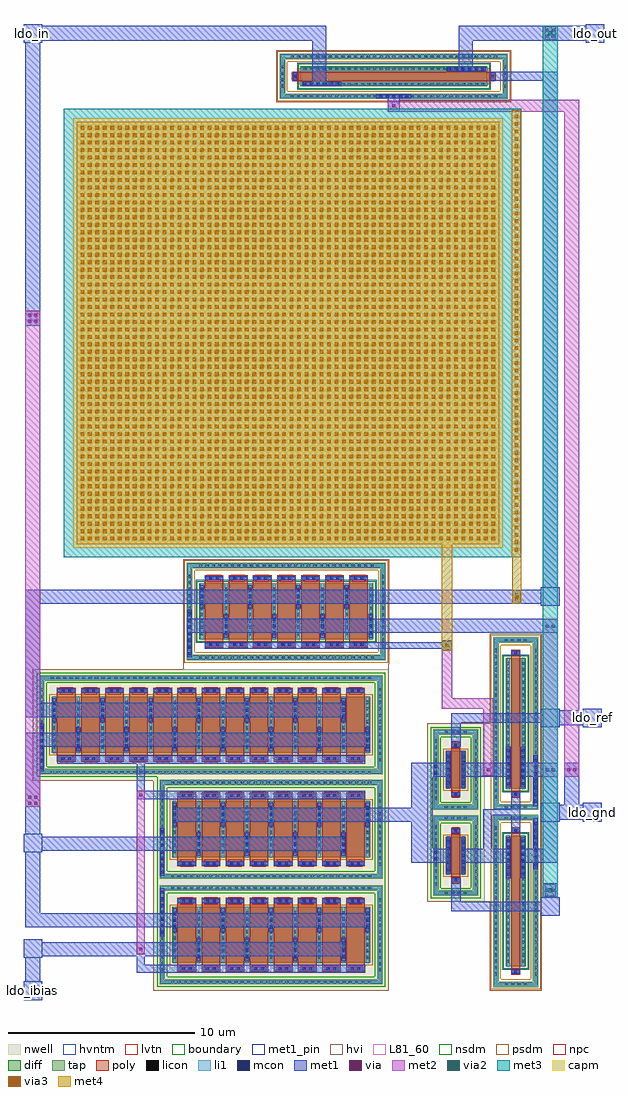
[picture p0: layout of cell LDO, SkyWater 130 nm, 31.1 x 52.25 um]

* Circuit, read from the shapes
.subckt LDO ldo_gnd ldo_ibias ldo_in ldo_out ldo_ref
XM1 ldo_gnd n1 Ota_esq_0/Vout ldo_gnd sky130_fd_pr__nfet_05v0_nvt w=3 l=1 m=7
XM2 ldo_out Ota_esq_0/Vout ldo_in ldo_gnd sky130_fd_pr__nfet_05v0_nvt w=10 l=0.5
XM3 ldo_gnd n2 n2 ldo_gnd sky130_fd_pr__nfet_05v0_nvt w=7 l=0.5
XM4 ldo_gnd n2 n1 ldo_gnd sky130_fd_pr__nfet_05v0_nvt w=7 l=0.5
XM5 ldo_in ldo_ibias Ota_esq_0/Vout ldo_in sky130_fd_pr__pfet_g5v0d10v5 w=3 l=1 m=13
XM6 ldo_ibias ldo_ibias ldo_in ldo_in sky130_fd_pr__pfet_g5v0d10v5 w=3 l=1 m=8
XM7 ldo_in ldo_ibias n3 ldo_in sky130_fd_pr__pfet_g5v0d10v5 w=3 l=1 m=8
XM8 n2 ldo_out n3 n3 sky130_fd_pr__pfet_g5v0d10v5 w=2 l=0.5
XM9 n1 ldo_ref n3 n3 sky130_fd_pr__pfet_g5v0d10v5 w=2 l=0.5
XC10 n1 Ota_esq_0/Vout sky130_fd_pr__cap_mim_m3_1 w=23 l=23
.ends

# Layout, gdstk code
from math import pi, radians
import gdstk
lib = gdstk.Library(unit=1e-6, precision=1e-09)
def R(c, l, rs):  # rectangles x0, y0, x1, y1
    for r in rs: c.add(gdstk.rectangle(r[:2], r[2:], *l))
def A(c, l, x, y, w, h, nx, ny, dx, dy):  # array of equal rectangles
    R(c, l, [(x+i*dx, y+j*dy, x+i*dx+w, y+j*dy+h) for i in range(nx) for j in range(ny)])
nwell = (64, 20)
diff = (65, 20)
tap = (65, 44)
poly = (66, 20)
licon = (66, 44)
li1 = (67, 20)
mcon = (67, 44)
met1_pin = (68, 16)
met1 = (68, 20)
via = (68, 44)
met2 = (69, 20)
via2 = (69, 44)
met3 = (70, 20)
via3 = (70, 44)
met4 = (71, 20)
hvi = (75, 20)
L81_60 = (81, 60)
capm = (89, 44)
nsdm = (93, 44)
psdm = (94, 20)
npc = (95, 20)
hvntm = (125, 20)
lvtn = (125, 44)
boundary = (235, 4)

sky130_fd_pr__pfet_g5v0d = lib.new_cell('sky130_fd_pr__pfet_g5v0d10v5_FY4V4F')
R(sky130_fd_pr__pfet_g5v0d, nwell, [(-6.305,-2.985,6.305,2.985)])
R(sky130_fd_pr__pfet_g5v0d, diff, [(-5.305,-1.5,5.305,1.5)])
R(sky130_fd_pr__pfet_g5v0d, tap, [(-5.975,-2.655,5.975,-2.365), (-5.975,-2.365,-5.685,2.365), (5.685,-2.365,5.975,2.365), (-5.975,2.365,5.975,2.655)])
A(sky130_fd_pr__pfet_g5v0d, poly, -5.015, -1.985, 1, 3.97, 8, 1, 1.29, 0)
A(sky130_fd_pr__pfet_g5v0d, licon, -5.355, -2.595, 0.17, 0.17, 32, 2, 0.34, 5.02)
A(sky130_fd_pr__pfet_g5v0d, licon, -5.915, -1.955, 0.17, 0.17, 1, 12, 0, 0.34)
A(sky130_fd_pr__pfet_g5v0d, licon, 5.745, -1.955, 0.17, 0.17, 1, 12, 0, 0.34)
A(sky130_fd_pr__pfet_g5v0d, licon, -5.245, -1.275, 0.17, 0.17, 9, 8, 1.29, 0.34)
R(sky130_fd_pr__pfet_g5v0d, licon, [(-4.77,-1.905,-4.6,-1.735), (-4.43,-1.905,-4.26,-1.735), (-3.48,-1.905,-3.31,-1.735), (-3.14,-1.905,-2.97,-1.735), (-2.19,-1.905,-2.02,-1.735), (-1.85,-1.905,-1.68,-1.735), (-0.9,-1.905,-0.73,-1.735), (-0.56,-1.905,-0.39,-1.735), (0.39,-1.905,0.56,-1.735), (0.73,-1.905,0.9,-1.735), (1.68,-1.905,1.85,-1.735), (2.02,-1.905,2.19,-1.735), (2.97,-1.905,3.14,-1.735), (3.31,-1.905,3.48,-1.735), (4.26,-1.905,4.43,-1.735), (4.6,-1.905,4.77,-1.735), (-4.77,1.735,-4.6,1.905), (-4.43,1.735,-4.26,1.905), (-3.48,1.735,-3.31,1.905), (-3.14,1.735,-2.97,1.905), (-2.19,1.735,-2.02,1.905), (-1.85,1.735,-1.68,1.905), (-0.9,1.735,-0.73,1.905), (-0.56,1.735,-0.39,1.905), (0.39,1.735,0.56,1.905), (0.73,1.735,0.9,1.905), (1.68,1.735,1.85,1.905), (2.02,1.735,2.19,1.905), (2.97,1.735,3.14,1.905), (3.31,1.735,3.48,1.905), (4.26,1.735,4.43,1.905), (4.6,1.735,4.77,1.905)])
A(sky130_fd_pr__pfet_g5v0d, li1, -5.015, -1.905, 1, 0.17, 8, 2, 1.29, 3.64)
A(sky130_fd_pr__pfet_g5v0d, li1, -5.245, -1.52, 0.17, 3.04, 9, 1, 1.29, 0)
R(sky130_fd_pr__pfet_g5v0d, li1, [(-5.915,-2.595,5.915,-2.425), (-5.915,-2.425,-5.745,2.425), (5.745,-2.425,5.915,2.425), (-5.915,2.425,5.915,2.595)])
A(sky130_fd_pr__pfet_g5v0d, mcon, -3.955, -1.225, 0.17, 0.17, 4, 3, 2.58, 0.36)
A(sky130_fd_pr__pfet_g5v0d, mcon, -5.915, 0.045, 0.17, 0.17, 1, 7, 0, 0.36)
A(sky130_fd_pr__pfet_g5v0d, mcon, -5.245, 0.335, 0.17, 0.17, 5, 3, 2.58, 0.36)
R(sky130_fd_pr__pfet_g5v0d, mcon, [(-4.78,-1.905,-4.61,-1.735), (-4.42,-1.905,-4.25,-1.735), (-3.49,-1.905,-3.32,-1.735), (-3.13,-1.905,-2.96,-1.735), (-2.2,-1.905,-2.03,-1.735), (-1.84,-1.905,-1.67,-1.735), (-0.91,-1.905,-0.74,-1.735), (-0.55,-1.905,-0.38,-1.735), (0.38,-1.905,0.55,-1.735), (0.74,-1.905,0.91,-1.735), (1.67,-1.905,1.84,-1.735), (2.03,-1.905,2.2,-1.735), (2.96,-1.905,3.13,-1.735), (3.32,-1.905,3.49,-1.735), (4.25,-1.905,4.42,-1.735), (4.61,-1.905,4.78,-1.735), (-4.78,1.735,-4.61,1.905), (-4.42,1.735,-4.25,1.905), (-3.49,1.735,-3.32,1.905), (-3.13,1.735,-2.96,1.905), (-2.2,1.735,-2.03,1.905), (-1.84,1.735,-1.67,1.905), (-0.91,1.735,-0.74,1.905), (-0.55,1.735,-0.38,1.905), (0.38,1.735,0.55,1.905), (0.74,1.735,0.91,1.905), (1.67,1.735,1.84,1.905), (2.03,1.735,2.2,1.905), (2.96,1.735,3.13,1.905), (3.32,1.735,3.49,1.905), (4.25,1.735,4.42,1.905), (4.61,1.735,4.78,1.905)])
A(sky130_fd_pr__pfet_g5v0d, met1, -4.995, -1.935, 0.96, 0.23, 8, 2, 1.29, 3.64)
A(sky130_fd_pr__pfet_g5v0d, met1, -3.985, -1.415, 0.23, 1.27, 4, 1, 2.58, 0)
A(sky130_fd_pr__pfet_g5v0d, met1, -5.275, 0.145, 0.23, 1.27, 5, 1, 2.58, 0)
R(sky130_fd_pr__pfet_g5v0d, met1, [(-5.945,-0.06,-5.715,2.485)])
R(sky130_fd_pr__pfet_g5v0d, hvi, [(-6.305,-2.985,6.305,2.985)])
R(sky130_fd_pr__pfet_g5v0d, nsdm, [(-6.1,-2.78,6.1,-2.24), (-6.1,-2.24,-5.56,2.24), (5.56,-2.24,6.1,2.24), (-6.1,2.24,6.1,2.78)])
R(sky130_fd_pr__pfet_g5v0d, psdm, [(-5.43,-1.625,5.43,1.625)])
A(sky130_fd_pr__pfet_g5v0d, npc, -4.87, -2.005, 0.71, 0.37, 8, 2, 1.29, 3.64)
R(sky130_fd_pr__pfet_g5v0d, boundary, [(-5.83,-2.51,5.83,2.51)])

sky130_fd_pr__nfet_g5v0d = lib.new_cell('sky130_fd_pr__nfet_g5v0d10v5_YCT7Q3')
R(sky130_fd_pr__nfet_g5v0d, diff, [(-4.66,-1.5,4.66,1.5)])
R(sky130_fd_pr__nfet_g5v0d, tap, [(-5.33,-2.61,5.33,-2.32), (-5.33,-2.32,-5.04,2.32), (5.04,-2.32,5.33,2.32), (-5.33,2.32,5.33,2.61)])
A(sky130_fd_pr__nfet_g5v0d, poly, -4.37, -1.94, 1, 3.88, 7, 1, 1.29, 0)
A(sky130_fd_pr__nfet_g5v0d, licon, -4.675, -2.55, 0.17, 0.17, 28, 2, 0.34, 4.93)
A(sky130_fd_pr__nfet_g5v0d, licon, -5.27, -1.955, 0.17, 0.17, 1, 12, 0, 0.34)
A(sky130_fd_pr__nfet_g5v0d, licon, 5.1, -1.955, 0.17, 0.17, 1, 12, 0, 0.34)
A(sky130_fd_pr__nfet_g5v0d, licon, -4.6, -1.275, 0.17, 0.17, 8, 8, 1.29, 0.34)
R(sky130_fd_pr__nfet_g5v0d, licon, [(-4.125,-1.86,-3.955,-1.69), (-3.785,-1.86,-3.615,-1.69), (-2.835,-1.86,-2.665,-1.69), (-2.495,-1.86,-2.325,-1.69), (-1.545,-1.86,-1.375,-1.69), (-1.205,-1.86,-1.035,-1.69), (-0.255,-1.86,-0.085,-1.69), (0.085,-1.86,0.255,-1.69), (1.035,-1.86,1.205,-1.69), (1.375,-1.86,1.545,-1.69), (2.325,-1.86,2.495,-1.69), (2.665,-1.86,2.835,-1.69), (3.615,-1.86,3.785,-1.69), (3.955,-1.86,4.125,-1.69), (-4.125,1.69,-3.955,1.86), (-3.785,1.69,-3.615,1.86), (-2.835,1.69,-2.665,1.86), (-2.495,1.69,-2.325,1.86), (-1.545,1.69,-1.375,1.86), (-1.205,1.69,-1.035,1.86), (-0.255,1.69,-0.085,1.86), (0.085,1.69,0.255,1.86), (1.035,1.69,1.205,1.86), (1.375,1.69,1.545,1.86), (2.325,1.69,2.495,1.86), (2.665,1.69,2.835,1.86), (3.615,1.69,3.785,1.86), (3.955,1.69,4.125,1.86)])
A(sky130_fd_pr__nfet_g5v0d, li1, -4.37, -1.86, 1, 0.17, 7, 2, 1.29, 3.55)
A(sky130_fd_pr__nfet_g5v0d, li1, -4.6, -1.52, 0.17, 3.04, 8, 1, 1.29, 0)
R(sky130_fd_pr__nfet_g5v0d, li1, [(-5.27,-2.55,5.27,-2.38), (-5.27,-2.38,-5.1,2.38), (5.1,-2.38,5.27,2.38), (-5.27,2.38,5.27,2.55)])
A(sky130_fd_pr__nfet_g5v0d, mcon, -5.27, -2.355, 0.17, 0.17, 1, 7, 0, 0.36)
A(sky130_fd_pr__nfet_g5v0d, mcon, -3.31, -1.225, 0.17, 0.17, 4, 3, 2.58, 0.36)
A(sky130_fd_pr__nfet_g5v0d, mcon, -4.6, 0.335, 0.17, 0.17, 4, 3, 2.58, 0.36)
R(sky130_fd_pr__nfet_g5v0d, mcon, [(-4.135,-1.86,-3.965,-1.69), (-3.775,-1.86,-3.605,-1.69), (-2.845,-1.86,-2.675,-1.69), (-2.485,-1.86,-2.315,-1.69), (-1.555,-1.86,-1.385,-1.69), (-1.195,-1.86,-1.025,-1.69), (-0.265,-1.86,-0.095,-1.69), (0.095,-1.86,0.265,-1.69), (1.025,-1.86,1.195,-1.69), (1.385,-1.86,1.555,-1.69), (2.315,-1.86,2.485,-1.69), (2.675,-1.86,2.845,-1.69), (3.605,-1.86,3.775,-1.69), (3.965,-1.86,4.135,-1.69), (-4.135,1.69,-3.965,1.86), (-3.775,1.69,-3.605,1.86), (-2.845,1.69,-2.675,1.86), (-2.485,1.69,-2.315,1.86), (-1.555,1.69,-1.385,1.86), (-1.195,1.69,-1.025,1.86), (-0.265,1.69,-0.095,1.86), (0.095,1.69,0.265,1.86), (1.025,1.69,1.195,1.86), (1.385,1.69,1.555,1.86), (2.315,1.69,2.485,1.86), (2.675,1.69,2.845,1.86), (3.605,1.69,3.775,1.86), (3.965,1.69,4.135,1.86)])
A(sky130_fd_pr__nfet_g5v0d, met1, -4.35, -1.89, 0.96, 0.23, 7, 2, 1.29, 3.55)
A(sky130_fd_pr__nfet_g5v0d, met1, -3.34, -1.415, 0.23, 1.27, 4, 1, 2.58, 0)
A(sky130_fd_pr__nfet_g5v0d, met1, -4.63, 0.145, 0.23, 1.27, 4, 1, 2.58, 0)
R(sky130_fd_pr__nfet_g5v0d, met1, [(-5.3,-2.44,-5.07,0.06)])
R(sky130_fd_pr__nfet_g5v0d, hvi, [(-5.515,-2.795,5.515,2.795)])
R(sky130_fd_pr__nfet_g5v0d, nsdm, [(-4.785,-1.625,4.785,1.625)])
R(sky130_fd_pr__nfet_g5v0d, psdm, [(-5.455,-2.735,5.455,-2.195), (-5.455,-2.195,-4.915,2.195), (4.915,-2.195,5.455,2.195), (-5.455,2.195,5.455,2.735)])
A(sky130_fd_pr__nfet_g5v0d, npc, -4.225, -1.96, 0.71, 0.37, 7, 2, 1.29, 3.55)
R(sky130_fd_pr__nfet_g5v0d, hvntm, [(-4.845,-1.685,4.845,1.685)])
R(sky130_fd_pr__nfet_g5v0d, boundary, [(-5.185,-2.465,5.185,2.465)])

c_sky130_fd_pr__pfet_g5v0d = lib.new_cell('sky130_fd_pr__pfet_g5v0d10v5_C5553C')
R(c_sky130_fd_pr__pfet_g5v0d, nwell, [(-9.53,-2.985,9.53,2.985)])
R(c_sky130_fd_pr__pfet_g5v0d, diff, [(-8.53,-1.5,8.53,1.5)])
R(c_sky130_fd_pr__pfet_g5v0d, tap, [(-9.2,-2.655,9.2,-2.365), (-9.2,-2.365,-8.91,2.365), (8.91,-2.365,9.2,2.365), (-9.2,2.365,9.2,2.655)])
A(c_sky130_fd_pr__pfet_g5v0d, poly, -8.24, -1.985, 1, 3.97, 13, 1, 1.29, 0)
A(c_sky130_fd_pr__pfet_g5v0d, licon, -8.585, -2.595, 0.17, 0.17, 51, 2, 0.34, 5.02)
A(c_sky130_fd_pr__pfet_g5v0d, licon, -9.14, -1.955, 0.17, 0.17, 1, 12, 0, 0.34)
A(c_sky130_fd_pr__pfet_g5v0d, licon, 8.97, -1.955, 0.17, 0.17, 1, 12, 0, 0.34)
A(c_sky130_fd_pr__pfet_g5v0d, licon, -8.47, -1.275, 0.17, 0.17, 14, 8, 1.29, 0.34)
R(c_sky130_fd_pr__pfet_g5v0d, licon, [(-7.995,-1.905,-7.825,-1.735), (-7.655,-1.905,-7.485,-1.735), (-6.705,-1.905,-6.535,-1.735), (-6.365,-1.905,-6.195,-1.735), (-5.415,-1.905,-5.245,-1.735), (-5.075,-1.905,-4.905,-1.735), (-4.125,-1.905,-3.955,-1.735), (-3.785,-1.905,-3.615,-1.735), (-2.835,-1.905,-2.665,-1.735), (-2.495,-1.905,-2.325,-1.735), (-1.545,-1.905,-1.375,-1.735), (-1.205,-1.905,-1.035,-1.735), (-0.255,-1.905,-0.085,-1.735), (0.085,-1.905,0.255,-1.735), (1.035,-1.905,1.205,-1.735), (1.375,-1.905,1.545,-1.735), (2.325,-1.905,2.495,-1.735), (2.665,-1.905,2.835,-1.735), (3.615,-1.905,3.785,-1.735), (3.955,-1.905,4.125,-1.735), (4.905,-1.905,5.075,-1.735), (5.245,-1.905,5.415,-1.735), (6.195,-1.905,6.365,-1.735), (6.535,-1.905,6.705,-1.735), (7.485,-1.905,7.655,-1.735), (7.825,-1.905,7.995,-1.735), (-7.995,1.735,-7.825,1.905), (-7.655,1.735,-7.485,1.905), (-6.705,1.735,-6.535,1.905), (-6.365,1.735,-6.195,1.905), (-5.415,1.735,-5.245,1.905), (-5.075,1.735,-4.905,1.905), (-4.125,1.735,-3.955,1.905), (-3.785,1.735,-3.615,1.905), (-2.835,1.735,-2.665,1.905), (-2.495,1.735,-2.325,1.905), (-1.545,1.735,-1.375,1.905), (-1.205,1.735,-1.035,1.905), (-0.255,1.735,-0.085,1.905), (0.085,1.735,0.255,1.905), (1.035,1.735,1.205,1.905), (1.375,1.735,1.545,1.905), (2.325,1.735,2.495,1.905), (2.665,1.735,2.835,1.905), (3.615,1.735,3.785,1.905), (3.955,1.735,4.125,1.905), (4.905,1.735,5.075,1.905), (5.245,1.735,5.415,1.905), (6.195,1.735,6.365,1.905), (6.535,1.735,6.705,1.905), (7.485,1.735,7.655,1.905), (7.825,1.735,7.995,1.905)])
A(c_sky130_fd_pr__pfet_g5v0d, li1, -8.24, -1.905, 1, 0.17, 13, 2, 1.29, 3.64)
A(c_sky130_fd_pr__pfet_g5v0d, li1, -8.47, -1.52, 0.17, 3.04, 14, 1, 1.29, 0)
R(c_sky130_fd_pr__pfet_g5v0d, li1, [(-9.14,-2.595,9.14,-2.425), (-9.14,-2.425,-8.97,2.425), (8.97,-2.425,9.14,2.425), (-9.14,2.425,9.14,2.595)])
A(c_sky130_fd_pr__pfet_g5v0d, mcon, -9.14, -2.38, 0.17, 0.17, 1, 7, 0, 0.36)
A(c_sky130_fd_pr__pfet_g5v0d, mcon, -7.18, -1.225, 0.17, 0.17, 7, 3, 2.58, 0.36)
A(c_sky130_fd_pr__pfet_g5v0d, mcon, -8.47, 0.335, 0.17, 0.17, 7, 3, 2.58, 0.36)
R(c_sky130_fd_pr__pfet_g5v0d, mcon, [(-8.005,-1.905,-7.835,-1.735), (-7.645,-1.905,-7.475,-1.735), (-6.715,-1.905,-6.545,-1.735), (-6.355,-1.905,-6.185,-1.735), (-5.425,-1.905,-5.255,-1.735), (-5.065,-1.905,-4.895,-1.735), (-4.135,-1.905,-3.965,-1.735), (-3.775,-1.905,-3.605,-1.735), (-2.845,-1.905,-2.675,-1.735), (-2.485,-1.905,-2.315,-1.735), (-1.555,-1.905,-1.385,-1.735), (-1.195,-1.905,-1.025,-1.735), (-0.265,-1.905,-0.095,-1.735), (0.095,-1.905,0.265,-1.735), (1.025,-1.905,1.195,-1.735), (1.385,-1.905,1.555,-1.735), (2.315,-1.905,2.485,-1.735), (2.675,-1.905,2.845,-1.735), (3.605,-1.905,3.775,-1.735), (3.965,-1.905,4.135,-1.735), (4.895,-1.905,5.065,-1.735), (5.255,-1.905,5.425,-1.735), (6.185,-1.905,6.355,-1.735), (6.545,-1.905,6.715,-1.735), (7.475,-1.905,7.645,-1.735), (7.835,-1.905,8.005,-1.735), (-8.005,1.735,-7.835,1.905), (-7.645,1.735,-7.475,1.905), (-6.715,1.735,-6.545,1.905), (-6.355,1.735,-6.185,1.905), (-5.425,1.735,-5.255,1.905), (-5.065,1.735,-4.895,1.905), (-4.135,1.735,-3.965,1.905), (-3.775,1.735,-3.605,1.905), (-2.845,1.735,-2.675,1.905), (-2.485,1.735,-2.315,1.905), (-1.555,1.735,-1.385,1.905), (-1.195,1.735,-1.025,1.905), (-0.265,1.735,-0.095,1.905), (0.095,1.735,0.265,1.905), (1.025,1.735,1.195,1.905), (1.385,1.735,1.555,1.905), (2.315,1.735,2.485,1.905), (2.675,1.735,2.845,1.905), (3.605,1.735,3.775,1.905), (3.965,1.735,4.135,1.905), (4.895,1.735,5.065,1.905), (5.255,1.735,5.425,1.905), (6.185,1.735,6.355,1.905), (6.545,1.735,6.715,1.905), (7.475,1.735,7.645,1.905), (7.835,1.735,8.005,1.905)])
A(c_sky130_fd_pr__pfet_g5v0d, met1, -8.22, -1.935, 0.96, 0.23, 13, 2, 1.29, 3.64)
A(c_sky130_fd_pr__pfet_g5v0d, met1, -7.21, -1.415, 0.23, 1.27, 7, 1, 2.58, 0)
A(c_sky130_fd_pr__pfet_g5v0d, met1, -8.5, 0.145, 0.23, 1.27, 7, 1, 2.58, 0)
R(c_sky130_fd_pr__pfet_g5v0d, met1, [(-9.17,-2.485,-8.94,0.06)])
R(c_sky130_fd_pr__pfet_g5v0d, hvi, [(-9.53,-2.985,9.53,2.985)])
R(c_sky130_fd_pr__pfet_g5v0d, nsdm, [(-9.325,-2.78,9.325,-2.24), (-9.325,-2.24,-8.785,2.24), (8.785,-2.24,9.325,2.24), (-9.325,2.24,9.325,2.78)])
R(c_sky130_fd_pr__pfet_g5v0d, psdm, [(-8.655,-1.625,8.655,1.625)])
A(c_sky130_fd_pr__pfet_g5v0d, npc, -8.095, -2.005, 0.71, 0.37, 13, 2, 1.29, 3.64)
R(c_sky130_fd_pr__pfet_g5v0d, boundary, [(-9.055,-2.51,9.055,2.51)])

c_sky130_fd_pr__pfet_g5v0d_ = lib.new_cell('sky130_fd_pr__pfet_g5v0d10v5_FYUU4F')
R(c_sky130_fd_pr__pfet_g5v0d_, nwell, [(-6.305,-2.985,6.305,2.985)])
R(c_sky130_fd_pr__pfet_g5v0d_, diff, [(-5.305,-1.5,5.305,1.5)])
R(c_sky130_fd_pr__pfet_g5v0d_, tap, [(-5.975,-2.655,5.975,-2.365), (-5.975,-2.365,-5.685,2.365), (5.685,-2.365,5.975,2.365), (-5.975,2.365,5.975,2.655)])
A(c_sky130_fd_pr__pfet_g5v0d_, poly, -5.015, -1.985, 1, 3.97, 8, 1, 1.29, 0)
A(c_sky130_fd_pr__pfet_g5v0d_, licon, -5.355, -2.595, 0.17, 0.17, 32, 2, 0.34, 5.02)
A(c_sky130_fd_pr__pfet_g5v0d_, licon, -5.915, -1.955, 0.17, 0.17, 1, 12, 0, 0.34)
A(c_sky130_fd_pr__pfet_g5v0d_, licon, 5.745, -1.955, 0.17, 0.17, 1, 12, 0, 0.34)
A(c_sky130_fd_pr__pfet_g5v0d_, licon, -5.245, -1.275, 0.17, 0.17, 9, 8, 1.29, 0.34)
R(c_sky130_fd_pr__pfet_g5v0d_, licon, [(-4.77,-1.905,-4.6,-1.735), (-4.43,-1.905,-4.26,-1.735), (-3.48,-1.905,-3.31,-1.735), (-3.14,-1.905,-2.97,-1.735), (-2.19,-1.905,-2.02,-1.735), (-1.85,-1.905,-1.68,-1.735), (-0.9,-1.905,-0.73,-1.735), (-0.56,-1.905,-0.39,-1.735), (0.39,-1.905,0.56,-1.735), (0.73,-1.905,0.9,-1.735), (1.68,-1.905,1.85,-1.735), (2.02,-1.905,2.19,-1.735), (2.97,-1.905,3.14,-1.735), (3.31,-1.905,3.48,-1.735), (4.26,-1.905,4.43,-1.735), (4.6,-1.905,4.77,-1.735), (-4.77,1.735,-4.6,1.905), (-4.43,1.735,-4.26,1.905), (-3.48,1.735,-3.31,1.905), (-3.14,1.735,-2.97,1.905), (-2.19,1.735,-2.02,1.905), (-1.85,1.735,-1.68,1.905), (-0.9,1.735,-0.73,1.905), (-0.56,1.735,-0.39,1.905), (0.39,1.735,0.56,1.905), (0.73,1.735,0.9,1.905), (1.68,1.735,1.85,1.905), (2.02,1.735,2.19,1.905), (2.97,1.735,3.14,1.905), (3.31,1.735,3.48,1.905), (4.26,1.735,4.43,1.905), (4.6,1.735,4.77,1.905)])
A(c_sky130_fd_pr__pfet_g5v0d_, li1, -5.015, -1.905, 1, 0.17, 8, 2, 1.29, 3.64)
A(c_sky130_fd_pr__pfet_g5v0d_, li1, -5.245, -1.52, 0.17, 3.04, 9, 1, 1.29, 0)
R(c_sky130_fd_pr__pfet_g5v0d_, li1, [(-5.915,-2.595,5.915,-2.425), (-5.915,-2.425,-5.745,2.425), (5.745,-2.425,5.915,2.425), (-5.915,2.425,5.915,2.595)])
A(c_sky130_fd_pr__pfet_g5v0d_, mcon, -5.915, -2.38, 0.17, 0.17, 1, 7, 0, 0.36)
A(c_sky130_fd_pr__pfet_g5v0d_, mcon, -3.955, -1.225, 0.17, 0.17, 4, 3, 2.58, 0.36)
A(c_sky130_fd_pr__pfet_g5v0d_, mcon, -5.245, 0.335, 0.17, 0.17, 5, 3, 2.58, 0.36)
R(c_sky130_fd_pr__pfet_g5v0d_, mcon, [(-4.78,-1.905,-4.61,-1.735), (-4.42,-1.905,-4.25,-1.735), (-3.49,-1.905,-3.32,-1.735), (-3.13,-1.905,-2.96,-1.735), (-2.2,-1.905,-2.03,-1.735), (-1.84,-1.905,-1.67,-1.735), (-0.91,-1.905,-0.74,-1.735), (-0.55,-1.905,-0.38,-1.735), (0.38,-1.905,0.55,-1.735), (0.74,-1.905,0.91,-1.735), (1.67,-1.905,1.84,-1.735), (2.03,-1.905,2.2,-1.735), (2.96,-1.905,3.13,-1.735), (3.32,-1.905,3.49,-1.735), (4.25,-1.905,4.42,-1.735), (4.61,-1.905,4.78,-1.735), (-4.78,1.735,-4.61,1.905), (-4.42,1.735,-4.25,1.905), (-3.49,1.735,-3.32,1.905), (-3.13,1.735,-2.96,1.905), (-2.2,1.735,-2.03,1.905), (-1.84,1.735,-1.67,1.905), (-0.91,1.735,-0.74,1.905), (-0.55,1.735,-0.38,1.905), (0.38,1.735,0.55,1.905), (0.74,1.735,0.91,1.905), (1.67,1.735,1.84,1.905), (2.03,1.735,2.2,1.905), (2.96,1.735,3.13,1.905), (3.32,1.735,3.49,1.905), (4.25,1.735,4.42,1.905), (4.61,1.735,4.78,1.905)])
A(c_sky130_fd_pr__pfet_g5v0d_, met1, -4.995, -1.935, 0.96, 0.23, 8, 2, 1.29, 3.64)
A(c_sky130_fd_pr__pfet_g5v0d_, met1, -3.985, -1.415, 0.23, 1.27, 4, 1, 2.58, 0)
A(c_sky130_fd_pr__pfet_g5v0d_, met1, -5.275, 0.145, 0.23, 1.27, 5, 1, 2.58, 0)
R(c_sky130_fd_pr__pfet_g5v0d_, met1, [(-5.945,-2.485,-5.715,0.06)])
R(c_sky130_fd_pr__pfet_g5v0d_, hvi, [(-6.305,-2.985,6.305,2.985)])
R(c_sky130_fd_pr__pfet_g5v0d_, nsdm, [(-6.1,-2.78,6.1,-2.24), (-6.1,-2.24,-5.56,2.24), (5.56,-2.24,6.1,2.24), (-6.1,2.24,6.1,2.78)])
R(c_sky130_fd_pr__pfet_g5v0d_, psdm, [(-5.43,-1.625,5.43,1.625)])
A(c_sky130_fd_pr__pfet_g5v0d_, npc, -4.87, -2.005, 0.71, 0.37, 8, 2, 1.29, 3.64)
R(c_sky130_fd_pr__pfet_g5v0d_, boundary, [(-5.83,-2.51,5.83,2.51)])

c_sky130_fd_pr__nfet_g5v0d = lib.new_cell('sky130_fd_pr__nfet_g5v0d10v5_RMPAXK')
R(c_sky130_fd_pr__nfet_g5v0d, diff, [(-0.54,-3.5,0.54,3.5)])
R(c_sky130_fd_pr__nfet_g5v0d, tap, [(-1.21,-4.61,1.21,-4.32), (-1.21,-4.32,-0.92,4.32), (0.92,-4.32,1.21,4.32), (-1.21,4.32,1.21,4.61)])
R(c_sky130_fd_pr__nfet_g5v0d, poly, [(-0.25,-3.94,0.25,3.94)])
A(c_sky130_fd_pr__nfet_g5v0d, licon, -0.595, -4.55, 0.17, 0.17, 4, 2, 0.34, 8.93)
A(c_sky130_fd_pr__nfet_g5v0d, licon, -1.15, -3.995, 0.17, 0.17, 1, 24, 0, 0.34)
A(c_sky130_fd_pr__nfet_g5v0d, licon, 0.98, -3.995, 0.17, 0.17, 1, 24, 0, 0.34)
A(c_sky130_fd_pr__nfet_g5v0d, licon, -0.48, -3.315, 0.17, 0.17, 1, 20, 0, 0.34)
A(c_sky130_fd_pr__nfet_g5v0d, licon, 0.31, -3.315, 0.17, 0.17, 1, 20, 0, 0.34)
R(c_sky130_fd_pr__nfet_g5v0d, licon, [(-0.085,-3.86,0.085,-3.69), (-0.085,3.69,0.085,3.86)])
R(c_sky130_fd_pr__nfet_g5v0d, li1, [(-1.15,-4.55,1.15,-4.38), (-1.15,-4.38,-0.98,4.38), (0.98,-4.38,1.15,4.38), (-0.25,-3.86,0.25,-3.69), (-0.48,-3.52,-0.31,3.52), (0.31,-3.52,0.48,3.52), (-0.25,3.69,0.25,3.86), (-1.15,4.38,1.15,4.55)])
A(c_sky130_fd_pr__nfet_g5v0d, mcon, 0.98, -4.23, 0.17, 0.17, 1, 7, 0, 0.36)
A(c_sky130_fd_pr__nfet_g5v0d, mcon, -0.48, -3.31, 0.17, 0.17, 1, 6, 0, 0.36)
A(c_sky130_fd_pr__nfet_g5v0d, mcon, 0.31, -3.31, 0.17, 0.17, 1, 6, 0, 0.36)
R(c_sky130_fd_pr__nfet_g5v0d, mcon, [(-0.085,-3.86,0.085,-3.69), (-0.085,3.69,0.085,3.86)])
R(c_sky130_fd_pr__nfet_g5v0d, met1, [(0.95,-4.44,1.18,-1.69), (-0.23,-3.89,0.23,-3.66), (-0.51,-3.415,-0.28,-1.23), (0.28,-3.415,0.51,-1.23), (-0.23,3.66,0.23,3.89)])
R(c_sky130_fd_pr__nfet_g5v0d, hvi, [(-1.395,-4.795,1.395,4.795)])
R(c_sky130_fd_pr__nfet_g5v0d, nsdm, [(-0.665,-3.625,0.665,3.625)])
R(c_sky130_fd_pr__nfet_g5v0d, psdm, [(-1.335,-4.735,1.335,-4.195), (-1.335,-4.195,-0.795,4.195), (0.795,-4.195,1.335,4.195), (-1.335,4.195,1.335,4.735)])
R(c_sky130_fd_pr__nfet_g5v0d, npc, [(-0.185,-3.96,0.185,-3.59), (-0.185,3.59,0.185,3.96)])
R(c_sky130_fd_pr__nfet_g5v0d, hvntm, [(-0.725,-3.685,0.725,3.685)])
R(c_sky130_fd_pr__nfet_g5v0d, boundary, [(-1.065,-4.465,1.065,4.465)])

c_sky130_fd_pr__nfet_g5v0d_ = lib.new_cell('sky130_fd_pr__nfet_g5v0d10v5_RVNTYK')
R(c_sky130_fd_pr__nfet_g5v0d_, diff, [(-0.54,-3.5,0.54,3.5)])
R(c_sky130_fd_pr__nfet_g5v0d_, tap, [(-1.21,-4.61,1.21,-4.32), (-1.21,-4.32,-0.92,4.32), (0.92,-4.32,1.21,4.32), (-1.21,4.32,1.21,4.61)])
R(c_sky130_fd_pr__nfet_g5v0d_, poly, [(-0.25,-3.94,0.25,3.94)])
A(c_sky130_fd_pr__nfet_g5v0d_, licon, -0.595, -4.55, 0.17, 0.17, 4, 2, 0.34, 8.93)
A(c_sky130_fd_pr__nfet_g5v0d_, licon, -1.15, -3.995, 0.17, 0.17, 1, 24, 0, 0.34)
A(c_sky130_fd_pr__nfet_g5v0d_, licon, 0.98, -3.995, 0.17, 0.17, 1, 24, 0, 0.34)
A(c_sky130_fd_pr__nfet_g5v0d_, licon, -0.48, -3.315, 0.17, 0.17, 1, 20, 0, 0.34)
A(c_sky130_fd_pr__nfet_g5v0d_, licon, 0.31, -3.315, 0.17, 0.17, 1, 20, 0, 0.34)
R(c_sky130_fd_pr__nfet_g5v0d_, licon, [(-0.085,-3.86,0.085,-3.69), (-0.085,3.69,0.085,3.86)])
R(c_sky130_fd_pr__nfet_g5v0d_, li1, [(-1.15,-4.55,1.15,-4.38), (-1.15,-4.38,-0.98,4.38), (0.98,-4.38,1.15,4.38), (-0.25,-3.86,0.25,-3.69), (-0.48,-3.52,-0.31,3.52), (0.31,-3.52,0.48,3.52), (-0.25,3.69,0.25,3.86), (-1.15,4.38,1.15,4.55)])
A(c_sky130_fd_pr__nfet_g5v0d_, mcon, -1.15, -4.23, 0.17, 0.17, 1, 7, 0, 0.36)
A(c_sky130_fd_pr__nfet_g5v0d_, mcon, -0.48, -3.31, 0.17, 0.17, 1, 6, 0, 0.36)
A(c_sky130_fd_pr__nfet_g5v0d_, mcon, 0.31, -3.31, 0.17, 0.17, 1, 6, 0, 0.36)
R(c_sky130_fd_pr__nfet_g5v0d_, mcon, [(-0.085,-3.86,0.085,-3.69), (-0.085,3.69,0.085,3.86)])
R(c_sky130_fd_pr__nfet_g5v0d_, met1, [(-1.18,-4.44,-0.95,-1.69), (-0.23,-3.89,0.23,-3.66), (-0.51,-3.415,-0.28,-1.23), (0.28,-3.415,0.51,-1.23), (-0.23,3.66,0.23,3.89)])
R(c_sky130_fd_pr__nfet_g5v0d_, hvi, [(-1.395,-4.795,1.395,4.795)])
R(c_sky130_fd_pr__nfet_g5v0d_, nsdm, [(-0.665,-3.625,0.665,3.625)])
R(c_sky130_fd_pr__nfet_g5v0d_, psdm, [(-1.335,-4.735,1.335,-4.195), (-1.335,-4.195,-0.795,4.195), (0.795,-4.195,1.335,4.195), (-1.335,4.195,1.335,4.735)])
R(c_sky130_fd_pr__nfet_g5v0d_, npc, [(-0.185,-3.96,0.185,-3.59), (-0.185,3.59,0.185,3.96)])
R(c_sky130_fd_pr__nfet_g5v0d_, hvntm, [(-0.725,-3.685,0.725,3.685)])
R(c_sky130_fd_pr__nfet_g5v0d_, boundary, [(-1.065,-4.465,1.065,4.465)])

c_sky130_fd_pr__pfet_g5v0d__ = lib.new_cell('sky130_fd_pr__pfet_g5v0d10v5_LMT75H')
R(c_sky130_fd_pr__pfet_g5v0d__, nwell, [(-1.54,-2.485,1.54,2.485)])
R(c_sky130_fd_pr__pfet_g5v0d__, diff, [(-0.54,-1,0.54,1)])
R(c_sky130_fd_pr__pfet_g5v0d__, tap, [(-1.21,-2.155,1.21,-1.865), (-1.21,-1.865,-0.92,1.865), (0.92,-1.865,1.21,1.865), (-1.21,1.865,1.21,2.155)])
R(c_sky130_fd_pr__pfet_g5v0d__, poly, [(-0.25,-1.485,0.25,1.485)])
A(c_sky130_fd_pr__pfet_g5v0d__, licon, -0.595, -2.095, 0.17, 0.17, 4, 2, 0.34, 4.02)
A(c_sky130_fd_pr__pfet_g5v0d__, licon, -1.15, -1.615, 0.17, 0.17, 1, 10, 0, 0.34)
A(c_sky130_fd_pr__pfet_g5v0d__, licon, 0.98, -1.615, 0.17, 0.17, 1, 10, 0, 0.34)
A(c_sky130_fd_pr__pfet_g5v0d__, licon, -0.48, -0.935, 0.17, 0.17, 1, 6, 0, 0.34)
A(c_sky130_fd_pr__pfet_g5v0d__, licon, 0.31, -0.935, 0.17, 0.17, 1, 6, 0, 0.34)
R(c_sky130_fd_pr__pfet_g5v0d__, licon, [(-0.085,-1.405,0.085,-1.235), (-0.085,1.235,0.085,1.405)])
R(c_sky130_fd_pr__pfet_g5v0d__, li1, [(-1.15,-2.095,1.15,-1.925), (-1.15,-1.925,-0.98,1.925), (0.98,-1.925,1.15,1.925), (-0.25,-1.405,0.25,-1.235), (-0.48,-1.02,-0.31,1.02), (0.31,-1.02,0.48,1.02), (-0.25,1.235,0.25,1.405), (-1.15,1.925,1.15,2.095)])
A(c_sky130_fd_pr__pfet_g5v0d__, mcon, -0.48, -0.805, 0.17, 0.17, 1, 5, 0, 0.36)
A(c_sky130_fd_pr__pfet_g5v0d__, mcon, 0.31, -0.805, 0.17, 0.17, 1, 5, 0, 0.36)
R(c_sky130_fd_pr__pfet_g5v0d__, mcon, [(-0.085,-1.405,0.085,-1.235), (-1.15,-0.265,-0.98,-0.095), (-1.15,0.095,-0.98,0.265), (-0.085,1.235,0.085,1.405)])
R(c_sky130_fd_pr__pfet_g5v0d__, met1, [(-0.23,-1.435,0.23,-1.205), (-0.51,-1,-0.28,1), (0.28,-1,0.51,1), (-1.18,-0.35,-0.95,0.35), (-0.23,1.205,0.23,1.435)])
R(c_sky130_fd_pr__pfet_g5v0d__, hvi, [(-1.54,-2.485,1.54,2.485)])
R(c_sky130_fd_pr__pfet_g5v0d__, nsdm, [(-1.335,-2.28,1.335,-1.74), (-1.335,-1.74,-0.795,1.74), (0.795,-1.74,1.335,1.74), (-1.335,1.74,1.335,2.28)])
R(c_sky130_fd_pr__pfet_g5v0d__, psdm, [(-0.665,-1.125,0.665,1.125)])
R(c_sky130_fd_pr__pfet_g5v0d__, npc, [(-0.185,-1.505,0.185,-1.135), (-0.185,1.135,0.185,1.505)])
R(c_sky130_fd_pr__pfet_g5v0d__, boundary, [(-1.065,-2.01,1.065,2.01)])

c_sky130_fd_pr__pfet_g5v0d___ = lib.new_cell('sky130_fd_pr__pfet_g5v0d10v5_4LQ75H')
R(c_sky130_fd_pr__pfet_g5v0d___, nwell, [(-1.54,-2.485,1.54,2.485)])
R(c_sky130_fd_pr__pfet_g5v0d___, diff, [(-0.54,-1,0.54,1)])
R(c_sky130_fd_pr__pfet_g5v0d___, tap, [(-1.21,-2.155,1.21,-1.865), (-1.21,-1.865,-0.92,1.865), (0.92,-1.865,1.21,1.865), (-1.21,1.865,1.21,2.155)])
R(c_sky130_fd_pr__pfet_g5v0d___, poly, [(-0.25,-1.485,0.25,1.485)])
A(c_sky130_fd_pr__pfet_g5v0d___, licon, -0.595, -2.095, 0.17, 0.17, 4, 2, 0.34, 4.02)
A(c_sky130_fd_pr__pfet_g5v0d___, licon, -1.15, -1.615, 0.17, 0.17, 1, 10, 0, 0.34)
A(c_sky130_fd_pr__pfet_g5v0d___, licon, 0.98, -1.615, 0.17, 0.17, 1, 10, 0, 0.34)
A(c_sky130_fd_pr__pfet_g5v0d___, licon, -0.48, -0.935, 0.17, 0.17, 1, 6, 0, 0.34)
A(c_sky130_fd_pr__pfet_g5v0d___, licon, 0.31, -0.935, 0.17, 0.17, 1, 6, 0, 0.34)
R(c_sky130_fd_pr__pfet_g5v0d___, licon, [(-0.085,-1.405,0.085,-1.235), (-0.085,1.235,0.085,1.405)])
R(c_sky130_fd_pr__pfet_g5v0d___, li1, [(-1.15,-2.095,1.15,-1.925), (-1.15,-1.925,-0.98,1.925), (0.98,-1.925,1.15,1.925), (-0.25,-1.405,0.25,-1.235), (-0.48,-1.02,-0.31,1.02), (0.31,-1.02,0.48,1.02), (-0.25,1.235,0.25,1.405), (-1.15,1.925,1.15,2.095)])
A(c_sky130_fd_pr__pfet_g5v0d___, mcon, -0.48, -0.805, 0.17, 0.17, 1, 5, 0, 0.36)
A(c_sky130_fd_pr__pfet_g5v0d___, mcon, 0.31, -0.805, 0.17, 0.17, 1, 5, 0, 0.36)
R(c_sky130_fd_pr__pfet_g5v0d___, mcon, [(-0.085,-1.405,0.085,-1.235), (0.98,-0.265,1.15,-0.095), (0.98,0.095,1.15,0.265), (-0.085,1.235,0.085,1.405)])
R(c_sky130_fd_pr__pfet_g5v0d___, met1, [(-0.23,-1.435,0.23,-1.205), (-0.51,-1,-0.28,1), (0.28,-1,0.51,1), (0.95,-0.35,1.18,0.35), (-0.23,1.205,0.23,1.435)])
R(c_sky130_fd_pr__pfet_g5v0d___, hvi, [(-1.54,-2.485,1.54,2.485)])
R(c_sky130_fd_pr__pfet_g5v0d___, nsdm, [(-1.335,-2.28,1.335,-1.74), (-1.335,-1.74,-0.795,1.74), (0.795,-1.74,1.335,1.74), (-1.335,1.74,1.335,2.28)])
R(c_sky130_fd_pr__pfet_g5v0d___, psdm, [(-0.665,-1.125,0.665,1.125)])
R(c_sky130_fd_pr__pfet_g5v0d___, npc, [(-0.185,-1.505,0.185,-1.135), (-0.185,1.135,0.185,1.505)])
R(c_sky130_fd_pr__pfet_g5v0d___, boundary, [(-1.065,-2.01,1.065,2.01)])

sky130_fd_pr__cap_mim_m3 = lib.new_cell('sky130_fd_pr__cap_mim_m3_1_M5BWMD')
R(sky130_fd_pr__cap_mim_m3, met3, [(-12.25,-12,12.245,12)])
A(sky130_fd_pr__cap_mim_m3, via3, 11.885, -11.7, 0.2, 0.2, 1, 59, 0, 0.4)
A(sky130_fd_pr__cap_mim_m3, via3, -11.35, -11.1, 0.2, 0.2, 56, 56, 0.4, 0.4)
R(sky130_fd_pr__cap_mim_m3, met4, [(11.745,-11.94,12.225,11.94), (-11.555,-11.305,11.055,11.305)])
R(sky130_fd_pr__cap_mim_m3, capm, [(-11.75,-11.5,11.25,11.5)])
R(sky130_fd_pr__cap_mim_m3, boundary, [(-12.25,-12,11.75,12)])

ota_esq = lib.new_cell('Ota_esq')
A(ota_esq, met1_pin, 26.85, -14.95, 1, 1, 1, 3, 0, 5.05)
R(ota_esq, met1_pin, [(-0.85,-17.2,0.15,-16.2), (-0.85,-11.55,0.15,-10.55), (26.85,1.65,27.85,2.65)])
R(ota_esq, met1, [(5.2,-18,17.45,-17.55), (5.2,-17.55,5.65,-17.1), (-0.85,-17.2,0.15,-17.1), (-0.85,-17.1,16.4,-16.35), (-0.85,-16.35,0.15,-16.2), (-0.75,-15.55,17.67,-14.8), (26.85,-14.95,27.85,-14.7), (-0.75,-14.8,0.05,-11.55), (22.05,-14.7,27.85,-14.2), (22.05,-14.2,22.55,-12.9), (26.85,-14.2,27.85,-13.95), (19.9,-12.1,21.95,-11.35), (22.6,-12.1,25.2,-11.35), (25.8,-12.1,27.75,-11.35), (-0.85,-11.55,0.15,-11.45), (-0.85,-11.45,16.37,-10.7), (19.9,-11.35,21.05,-9.9), (23.75,-11.35,24.25,-9.55), (26.95,-11.35,27.75,-9.9), (-0.85,-10.7,0.15,-10.55), (-0.75,-10.55,0.05,-6.55), (25.25,-10.5,25.75,-9.55), (7.15,-9.9,21.05,-9.15), (26.85,-9.9,27.85,-8.9), (23.75,-9.55,25.75,-9.25), (25.25,-9.25,25.75,-8.3), (19.9,-9.15,21.05,-7.5), (26.95,-8.9,27.75,-7.5), (5.2,-8.7,17.45,-8.25), (5.2,-8.25,5.65,-6.8), (19.9,-7.5,21.95,-6.75), (22.6,-7.5,25.2,-6.75), (25.8,-7.5,27.75,-6.75), (0.95,-6.8,17.45,-6.35), (-0.75,-6.55,0.2,-5.9), (-0.75,-5.9,17.7,-5.15), (22.05,-5.9,22.55,-4.6), (26.85,-4.85,27.85,-4.6), (22.05,-4.6,27.85,-4.1), (-0.75,-4.3,16.4,-3.55), (26.85,-4.1,27.85,-3.85), (-0.75,-3.55,0.05,1.75), (21.55,-0.7,22.1,-0.65), (8.85,-0.65,22.1,-0.3), (21.55,-0.3,22.1,-0.25), (7.9,0.2,27.75,0.95), (26.85,1.65,27.85,1.75), (-0.75,1.75,27.85,2.5), (26.85,2.5,27.85,2.65)])
R(ota_esq, via, [(5.35,-16.8,5.5,-16.65), (5.35,-8.55,5.5,-8.4), (23.95,-7.2,24.1,-7.05), (27.115,-7.2,27.265,-7.05), (27.435,-7.2,27.585,-7.05), (21.75,-0.55,21.9,-0.4), (27.115,0.5,27.265,0.65), (27.435,0.5,27.585,0.65), (25.475,1.89,25.625,2.04), (25.475,2.21,25.625,2.36)])
R(ota_esq, met2, [(5.2,-17,5.65,-8.25), (26.95,-7.5,27.75,0.95), (23.75,-7.45,24.3,-3.85), (21.55,-3.85,24.3,-3.3), (21.55,-3.3,22.1,-0.2), (25.35,1.75,25.75,2.5)])
R(ota_esq, via2, [(21.725,-0.575,21.925,-0.375), (25.45,2.025,25.65,2.225)])
R(ota_esq, met3, [(21.55,-0.725,22.1,-0.225), (25.3,1.775,25.8,2.475)])
R(ota_esq, via3, [(21.725,-0.575,21.925,-0.375), (25.45,2.025,25.65,2.225)])
R(ota_esq, met4, [(21.55,-0.75,22.1,5.55), (25.3,1.75,25.8,4.45)])
R(ota_esq, hvi, [(23.83,-14.2,24.105,-4.63), (7.705,-1.73,18.71,-1.445)])
R(ota_esq, nsdm, [(6.305,-13.185,18.505,-13.095), (20.955,-9.435,23.625,-9.395), (6.305,-7.535,18.505,-7.495)])
R(ota_esq, psdm, [(24.165,-9.415,26.835,-9.385)])
ota_esq.add(gdstk.Reference(sky130_fd_pr__pfet_g5v0d, (12.405,-15.965)))
ota_esq.add(gdstk.Reference(sky130_fd_pr__nfet_g5v0d, (13.22,1.35)))
ota_esq.add(gdstk.Reference(c_sky130_fd_pr__pfet_g5v0d, (9.18,-4.715)))
ota_esq.add(gdstk.Reference(c_sky130_fd_pr__pfet_g5v0d_, (12.405,-10.315)))
ota_esq.add(gdstk.Reference(c_sky130_fd_pr__nfet_g5v0d, (25.5,-4.65)))
ota_esq.add(gdstk.Reference(c_sky130_fd_pr__nfet_g5v0d_, (25.5,-14.15), rotation=pi))
ota_esq.add(gdstk.Reference(c_sky130_fd_pr__pfet_g5v0d__, (22.29,-7.115)))
ota_esq.add(gdstk.Reference(c_sky130_fd_pr__pfet_g5v0d___, (22.29,-11.715), rotation=pi))
ota_esq.add(gdstk.Reference(sky130_fd_pr__cap_mim_m3, (13.55,16.25)))
ota_esq.add(gdstk.Label('Vin', (27.35,-14.45), layer=68, texttype=16))
ota_esq.add(gdstk.Label('Vip', (27.35,-4.35), layer=68, texttype=16))
ota_esq.add(gdstk.Label('VDD', (-0.35,-11.05), layer=68, texttype=16))
ota_esq.add(gdstk.Label('VSS', (27.35,-9.4), layer=68, texttype=16))
ota_esq.add(gdstk.Label('Ibias', (-0.35,-16.7), layer=68, texttype=16))
ota_esq.add(gdstk.Label('Vout', (27.35,2.15), layer=68, texttype=16))

sky130_fd_pr__nfet_03v3_ = lib.new_cell('sky130_fd_pr__nfet_03v3_nvt_VP9Q5R')
R(sky130_fd_pr__nfet_03v3_, diff, [(-0.54,-5,0.54,5)])
R(sky130_fd_pr__nfet_03v3_, tap, [(-1.21,-6.11,1.21,-5.82), (-1.21,-5.82,-0.92,5.82), (0.92,-5.82,1.21,5.82), (-1.21,5.82,1.21,6.11)])
R(sky130_fd_pr__nfet_03v3_, poly, [(-0.25,-5.44,0.25,5.44)])
A(sky130_fd_pr__nfet_03v3_, licon, -0.595, -6.05, 0.17, 0.17, 4, 2, 0.34, 11.93)
A(sky130_fd_pr__nfet_03v3_, licon, -1.15, -5.525, 0.17, 0.17, 1, 33, 0, 0.34)
A(sky130_fd_pr__nfet_03v3_, licon, 0.98, -5.525, 0.17, 0.17, 1, 33, 0, 0.34)
A(sky130_fd_pr__nfet_03v3_, licon, -0.48, -4.845, 0.17, 0.17, 1, 29, 0, 0.34)
A(sky130_fd_pr__nfet_03v3_, licon, 0.31, -4.845, 0.17, 0.17, 1, 29, 0, 0.34)
R(sky130_fd_pr__nfet_03v3_, licon, [(-0.085,-5.36,0.085,-5.19), (-0.085,5.19,0.085,5.36)])
R(sky130_fd_pr__nfet_03v3_, li1, [(-1.15,-6.05,1.15,-5.88), (-1.15,-5.88,-0.98,5.88), (0.98,-5.88,1.15,5.88), (-0.25,-5.36,0.25,-5.19), (-0.48,-5.02,-0.31,5.02), (0.31,-5.02,0.48,5.02), (-0.25,5.19,0.25,5.36), (-1.15,5.88,1.15,6.05)])
A(sky130_fd_pr__nfet_03v3_, mcon, 0.31, -4.855, 0.17, 0.17, 1, 6, 0, 0.36)
A(sky130_fd_pr__nfet_03v3_, mcon, 0.98, -0.805, 0.17, 0.17, 1, 5, 0, 0.36)
A(sky130_fd_pr__nfet_03v3_, mcon, -0.48, 2.88, 0.17, 0.17, 1, 6, 0, 0.36)
R(sky130_fd_pr__nfet_03v3_, mcon, [(-0.085,-5.36,0.085,-5.19), (-0.085,5.19,0.085,5.36)])
R(sky130_fd_pr__nfet_03v3_, met1, [(-0.23,-5.39,0.23,-5.16), (0.28,-4.915,0.51,-2.82), (0.95,-0.94,1.18,0.94), (-0.51,2.82,-0.28,4.915), (-0.23,5.16,0.23,5.39)])
R(sky130_fd_pr__nfet_03v3_, hvi, [(-1.395,-6.295,1.395,6.295)])
R(sky130_fd_pr__nfet_03v3_, L81_60, [(-0.35,-5.1,0.35,5.1)])
R(sky130_fd_pr__nfet_03v3_, nsdm, [(-0.665,-5.125,0.665,5.125)])
R(sky130_fd_pr__nfet_03v3_, psdm, [(-1.335,-6.235,1.335,-5.695), (-1.335,-5.695,-0.795,5.695), (0.795,-5.695,1.335,5.695), (-1.335,5.695,1.335,6.235)])
R(sky130_fd_pr__nfet_03v3_, npc, [(-0.185,-5.46,0.185,-5.09), (-0.185,5.09,0.185,5.46)])
R(sky130_fd_pr__nfet_03v3_, hvntm, [(-0.725,-5.185,0.725,5.185)])
R(sky130_fd_pr__nfet_03v3_, lvtn, [(-0.43,-5.18,0.43,5.18)])
R(sky130_fd_pr__nfet_03v3_, boundary, [(-1.065,-5.965,1.065,5.965)])

ldo = lib.new_cell('LDO')
R(ldo, met1_pin, [(0,2.5,1,3.5), (29.95,12.05,30.95,13.05), (29.95,17.1,30.95,18.1), (0,53.75,1,54.75), (30.1,53.75,31.1,54.75)])
R(ldo, met1, [(0,2.5,1,3.5), (0.1,3.5,0.9,4.75), (27.8,8,28.6,8.75), (29.95,12.05,30.95,12.15), (28.7,12.15,30.95,12.95), (0.15,12.9,0.85,13.5), (28.95,12.95,29.75,15.2), (29.95,12.95,30.95,13.05), (29.95,17.1,30.95,17.2), (28.7,17.2,30.95,18), (29.95,18,30.95,18.1), (27.8,24.6,28.6,51.7), (0.1,38.6,0.9,53.75), (19.5,50.05,20.15,51), (15.45,51.45,16.2,53.85), (25,51.7,28.6,52.2), (23.3,52.2,24.05,53.85), (0,53.75,1,53.85), (30.1,53.75,31.1,53.85), (0,53.85,16.2,54.65), (23.3,53.85,31.1,54.65), (0,54.65,1,54.75), (30.1,54.65,31.1,54.75)])
R(ldo, via, [(27.965,8.3,28.115,8.45), (28.285,8.3,28.435,8.45), (0.265,12.965,0.415,13.115), (0.585,12.965,0.735,13.115), (0.265,13.285,0.415,13.435), (0.585,13.285,0.735,13.435), (29.115,14.75,29.265,14.9), (29.435,14.75,29.585,14.9), (0.265,38.765,0.415,38.915), (0.585,38.765,0.735,38.915), (0.265,39.085,0.415,39.235), (0.585,39.085,0.735,39.235), (19.75,50.3,19.9,50.45), (27.965,54.015,28.115,54.165), (28.285,54.015,28.435,54.165), (27.965,54.335,28.115,54.485), (28.285,54.335,28.435,54.485)])
R(ldo, met2, [(27.9,8.05,28.5,8.7), (0.1,12.85,0.9,39.4), (28.95,14.45,29.75,50.05), (19.5,50.05,29.75,50.65), (20.15,50.65,29.75,50.7), (27.9,53.9,28.5,54.6)])
R(ldo, via2, [(28.1,8.275,28.3,8.475), (28.1,54.15,28.3,54.35)])
R(ldo, met3, [(27.8,8,28.6,54.65)])
ldo.add(gdstk.Reference(ota_esq, (0.85,21.95)))
ldo.add(gdstk.Reference(sky130_fd_pr__nfet_03v3_, (19.825,51.945), rotation=3*pi/2))
ldo.add(gdstk.Label('ldo_out', (30.6,54.25), layer=68, texttype=16))
ldo.add(gdstk.Label('ldo_in', (0.5,54.25), layer=68, texttype=16))
ldo.add(gdstk.Label('ldo_gnd', (30.45,12.55), layer=68, texttype=16))
ldo.add(gdstk.Label('ldo_ref', (30.45,17.6), layer=68, texttype=16))
ldo.add(gdstk.Label('ldo_ibias', (0.5,3), layer=68, texttype=16))

lib.write_gds('LDO.gds')
